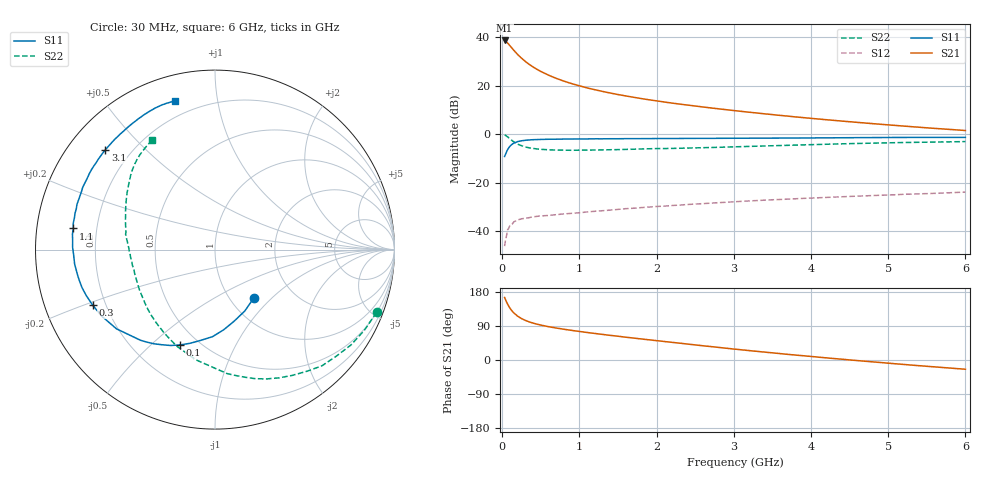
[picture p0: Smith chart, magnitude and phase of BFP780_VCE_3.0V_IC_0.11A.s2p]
! Infineon Technologies  Discrete & RF Semiconductors
! BFP780
! VCE =  3.0 V,  IC = 0.11 A
! Common Emitter S-Parameters:  Jul 2015
# GHz  S  MA  R  50
!  f  S11  S21  S12  S22
! GHz  MAG  ANG  MAG  ANG  MAG  ANG  MAG  ANG
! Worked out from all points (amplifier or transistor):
!   75 points, 30 MHz to 6 GHz, reference 50 ohm
!   highest |S21| = 38.7 dB at 30 MHz (marker M1)
!   |S21| within 3 dB of that: start of sweep to 121.1 MHz
!   unconditionally stable (mu >= 1): 1.665 GHz to end of sweep
!   at 150 MHz: K = 0.17, MSG = 35.4 dB, |S12| = -36.1 dB
!   at 2.3 GHz: K = 1.13, MAG = 18.6 dB, |S12| = -29.2 dB
!   at 6 GHz: K = 1.26, MAG = 9.7 dB, |S12| = -23.9 dB
!   S11 on the Smith chart (normalised r, x): 30 MHz: 1.27, -0.79; 100 MHz: 0.40, -0.62; 300 MHz: 0.15, -0.21; 1.1 GHz: 0.11, +0.07; 3.1 GHz: 0.11, +0.38; 6 GHz: 0.12, +0.76
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0.03  0.3465 -51.7  85.79 165.0  0.0049 77.8  0.9657 -21.2
0.05  0.4135 -75.2  81.18 155.3  0.0074 65.4  0.9255 -35.0
0.06  0.4497 -83.9  78.51 151.1  0.0088 64.7  0.8996 -41.3
0.08  0.5113 -98.8  72.64 143.2  0.0111 55.5  0.8497 -52.9
0.1  0.5659 -110.1  66.62 136.7  0.013 54.3  0.799 -63.4
0.12  0.6072 -119.2  61.01 131.0  0.0138 49.7  0.7537 -72.6
0.14  0.6403 -126.4  55.91 126.2  0.0148 45.3  0.7107 -80.7
0.15  0.6537 -129.4  53.66 124.1  0.0156 41.8  0.6949 -84.3
0.2  0.7044 -141.2  43.91 115.5  0.017 36.1  0.6231 -99.9
0.25  0.7317 -149.5  36.88 109.2  0.018 32.3  0.578 -111.8
0.3  0.7488 -155.6  31.5 104.4  0.0184 30.4  0.5445 -121.3
0.4  0.7705 -164.0  24.27 97.3  0.0198 27.8  0.508 -135.1
0.5  0.7791 -169.8  19.66 92.1  0.0206 26.9  0.487 -144.7
0.6  0.7863 -174.2  16.48 87.9  0.0211 27.4  0.477 -151.9
0.8  0.7934 179.1  12.41 81.1  0.0227 27.3  0.468 -162.1
1.1  0.7985 171.5  9.008 72.6  0.0249 29.1  0.4682 -172.3
1.5  0.8056 163.6  6.571 62.7  0.0281 30.4  0.4807 178.7
2.1  0.8147 153.4  4.609 48.8  0.0328 31.1  0.5055 169.0
3.1  0.8256 137.8  2.954 26.9  0.0412 28.8  0.5539 153.7
4.1  0.839 124.0  2.054 7.4  0.0489 24.5  0.6139 140.8
5.1  0.8564 112.9  1.513 -10.1  0.0564 19.1  0.6683 129.7
6  0.858 104.9  1.191 -24.4  0.0638 13.6  0.7035 119.7
